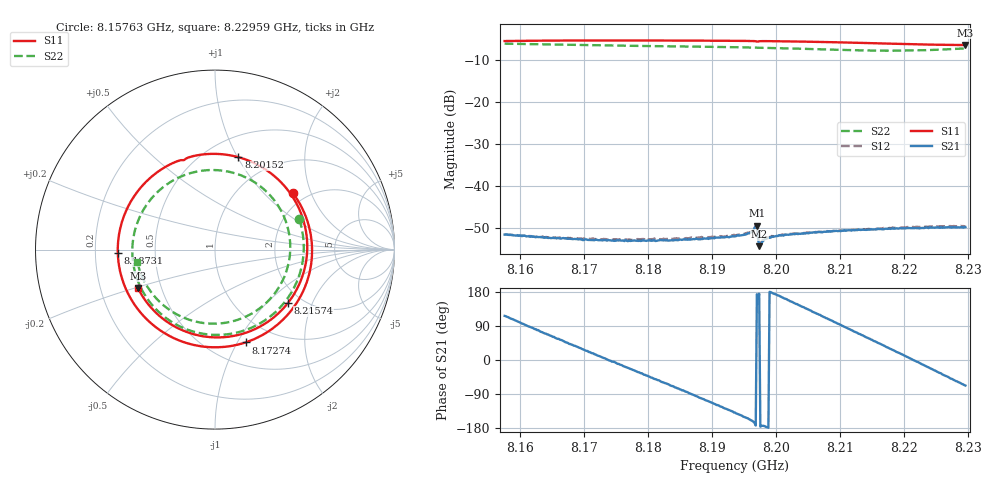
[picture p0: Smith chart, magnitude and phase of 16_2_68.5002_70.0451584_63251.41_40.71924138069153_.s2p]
#  HZ  S  RI  R  50.00
! Rohde & Schwarz Vector Network Analyzer
! Rohde-Schwarz,ZNB20-2Port,1311601062101988,3.16
! Created: UTC 3/20/2024, 5:04:22 PM
! freq[Hz]  re:S11  im:S11  re:S21  im:S21  re:S12  im:S12  re:S22  im:S22
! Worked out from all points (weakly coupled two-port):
!   401 points, 8.15763 GHz to 8.22959 GHz, reference 50 ohm
!   highest |S21| = -49.43 dB at 8.19703 GHz (marker M1); lowest = -54.3 dB at 8.19739 GHz (marker M2)
!   lowest |S11| = -6.4 dB at 8.22959 GHz (marker M3), VSWR 2.84, Z = 18.4 - j10.2 ohm
!   |S11| at or under -10 dB: nowhere
!   |S22| runs from -7.7 to -6.0 dB; largest |S21 - S12| = 0.00025
!   S11 on the Smith chart (normalised r, x): 8.15763 GHz: 1.69, +1.50; 8.17274 GHz: 0.74, -1.08; 8.18731 GHz: 0.30, -0.02; 8.20152 GHz: 0.70, +1.01; 8.21574 GHz: 1.69, -1.35; 8.22959 GHz: 0.37, -0.20
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8.157632e9  0.4332 0.3153  -0.00118 0.00238  -0.00121 0.00239  0.4691 0.1688
8.163568e9  0.5381 -0.0598  0.000723 0.00235  0.000744 0.00241  0.4544 -0.1825
8.169685e9  0.3507 -0.4161  0.00201 0.00113  0.00206 0.00117  0.2076 -0.433
8.172743e9  0.1704 -0.5171  0.00225 0.000312  0.00232 0.000334  0.037 -0.4745
8.17706e9  -0.1212 -0.5306  0.00209 -0.000839  0.00215 -0.000881  -0.2014 -0.4252
8.181737e9  -0.3965 -0.3715  0.00134 -0.00183  0.00133 -0.00189  -0.3929 -0.2496
8.187314e9  -0.5415 -0.0203  -0.000141 -0.00234  -0.000189 -0.0024  -0.4573 0.0485
8.190372e9  -0.5065 0.1893  -0.00104 -0.00216  -0.00111 -0.00224  -0.4055 0.2097
8.19361e9  -0.3836 0.3785  -0.0019 -0.00166  -0.00203 -0.00165  -0.29 0.3471
8.196668e9  -0.2016 0.4953  -0.00306 -0.000753  -0.00314 -0.000628  -0.1383 0.4256
8.197028e9  -0.1759 0.4981  -0.00336 0.000377  -0.00341 0.000531  -0.1188 0.4308
8.197387e9  -0.1611 0.5076  -0.00193 0.000173  -0.00193 0.000241  -0.0994 0.4351
8.197747e9  -0.1355 0.5171  -0.00209 -0.000236  -0.00218 -0.000161  -0.0791 0.4386
8.201525e9  0.1301 0.515  -0.00251 0.000843  -0.00244 0.000981  0.1329 0.4181
8.205662e9  0.3774 0.3649  -0.00171 0.00221  -0.00168 0.00227  0.3258 0.2806
8.210699e9  0.5136 0.0406  0.000126 0.00298  0.000184 0.00298  0.4191 0.00059
8.215736e9  0.4064 -0.2974  0.00209 0.00224  0.00219 0.00223  0.3 -0.2824
8.217715e9  0.3034 -0.396  0.00269 0.00159  0.00279 0.00155  0.1994 -0.3595
8.220593e9  0.1139 -0.479  0.00315 0.00041  0.00325 0.000304  0.0192 -0.412
8.223471e9  -0.0929 -0.4778  0.00308 -0.000925  0.00312 -0.00109  -0.1705 -0.381
8.226709e9  -0.3016 -0.3761  0.00236 -0.00222  0.00232 -0.00242  -0.3466 -0.249
8.229587e9  -0.4292 -0.2141  0.00125 -0.00302  0.00112 -0.00315  -0.4325 -0.0696
